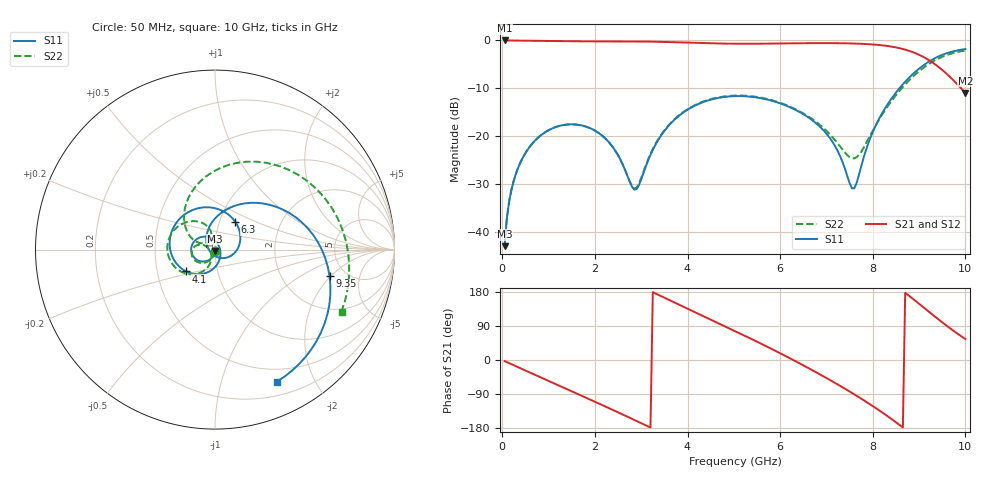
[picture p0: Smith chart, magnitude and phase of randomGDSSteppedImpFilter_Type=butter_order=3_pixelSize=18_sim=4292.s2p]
! freq	dB(S11)	phase(S11)	dB(S12)	phase(S12)
!  dB(S21)	phase(S21)	dB(S22)	phase(S22)
!S-par simulation data
#  GHz  S  DB  R 50
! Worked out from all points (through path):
!   200 points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, 50 MHz to 10 GHz, reference 50 ohm
!   highest |S21| = 0.00 dB at 50 MHz (marker M1); lowest = -11.0 dB at 10 GHz (marker M2)
!   group delay of S21, straight-line fit = 178 ps
!   lowest |S11| = -43.0 dB at 50 MHz (marker M3), VSWR 1.01, Z = 50 - j0.706 ohm
!   |S11| at or under -10 dB: start of sweep to 8.575 GHz
!   |S22| runs from -43.0 to -2.1 dB; largest |S21 - S12| = 0
!   S11 on the Smith chart (normalised r, x): 50 MHz: 1.00, -0.01; 4.1 GHz: 0.70, -0.18; 6.3 GHz: 1.19, +0.38; 9.35 GHz: 3.73, -1.95; 10 GHz: 0.35, -1.52
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0.05  -43.01 -92.1  -0.00 -2.8  -0.00 -2.8  -42.97 -91.5
0.1  -37.03 -95.2  -0.01 -5.6  -0.01 -5.6  -37.01 -94.3
0.2  -31.12 -101.4  -0.02 -11.2  -0.02 -11.2  -31.11 -99.8
0.55  -22.80 -123.0  -0.07 -30.5  -0.07 -30.5  -22.79 -118.6
1.15  -18.12 -159.1  -0.15 -63.5  -0.15 -63.5  -18.11 -149.1
1.75  -17.86 163.7  -0.19 -96.3  -0.19 -96.3  -17.86 -177.7
2.35  -21.83 119.7  -0.19 -129.7  -0.19 -129.7  -21.85 159.9
2.85  -31.20 25.1  -0.20 -158.1  -0.20 -158.1  -30.97 -160.7
3.4  -20.29 -89.4  -0.29 170.2  -0.29 170.2  -20.15 -111.4
4.1  -13.92 -142.8  -0.49 129.8  -0.49 129.8  -13.81 -138.3
5.05  -11.63 151.6  -0.69 74.9  -0.69 74.9  -11.52 178.4
5.75  -12.43 99.5  -0.66 33.2  -0.66 33.2  -12.31 147.6
6.3  -14.36 53.8  -0.60 -1.1  -0.60 -1.1  -14.23 125.3
6.7  -16.72 17.2  -0.56 -27.2  -0.56 -27.2  -16.49 111.4
7.2  -22.33 -36.5  -0.57 -61.5  -0.57 -61.5  -21.02 103.0
7.6  -30.93 -149.1  -0.65 -90.5  -0.65 -90.5  -24.66 131.4
7.95  -20.31 118.1  -0.81 -117.6  -0.81 -117.6  -19.76 157.2
8.35  -12.91 75.6  -1.21 -150.9  -1.21 -150.9  -13.37 141.2
8.8  -7.63 35.1  -2.23 167.8  -2.23 167.8  -8.19 102.0
9.35  -3.67 -13.1  -5.03 113.9  -5.03 113.9  -4.12 42.2
9.7  -2.36 -42.2  -7.93 80.8  -7.93 80.8  -2.73 3.9
10  -1.80 -64.9  -10.96 55.4  -10.96 55.4  -2.10 -26.1
